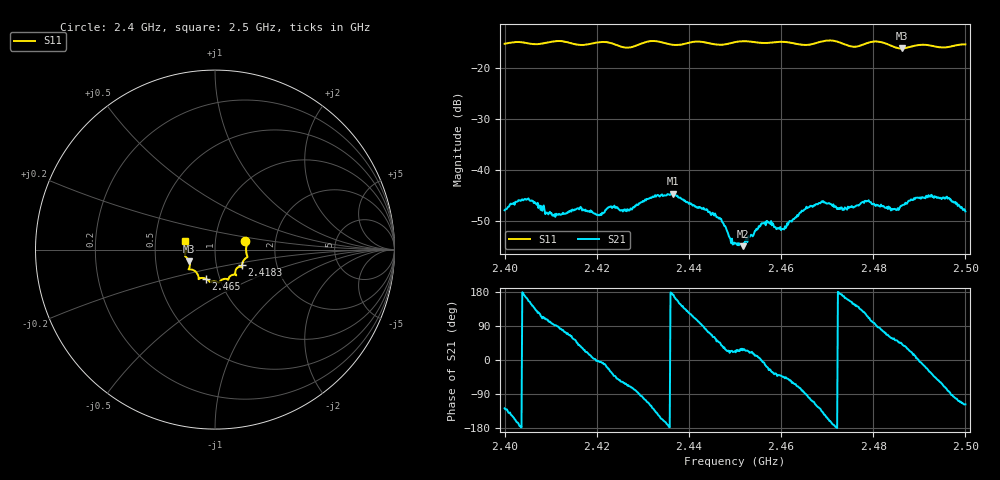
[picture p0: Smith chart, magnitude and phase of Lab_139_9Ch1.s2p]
# Hz S RI R 50
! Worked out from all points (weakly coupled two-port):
!   601 points, 2.4 GHz to 2.5 GHz, reference 50 ohm
!   highest |S21| = -44.64 dB at 2.4365 GHz (marker M1); lowest = -55.0 dB at 2.4517 GHz (marker M2)
!   lowest |S11| = -16.1 dB at 2.4862 GHz (marker M3), VSWR 1.37, Z = 37.2 - j4.89 ohm
!   |S11| at or under -10 dB: start of sweep to end of sweep
!   S12 and S22 are empty: the file has one direction only
!   S11 on the Smith chart (normalised r, x): 2.4 GHz: 1.40, +0.13; 2.4183 GHz: 1.33, -0.24; 2.465 GHz: 0.86, -0.29; 2.5 GHz: 0.71, +0.07
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2.4e9  0.1683 0.0468  -0.00244 -0.00319  0 0  0 0
2.404667e9  0.1766 0.0215  -0.00492 0.00136  0 0  0 0
2.410833e9  0.1807 -0.0372  -0.000127 0.00367  0 0  0 0
2.416667e9  0.1555 -0.0682  0.00353 0.00232  0 0  0 0
2.418333e9  0.1501 -0.0867  0.00383 0.000975  0 0  0 0
2.426667e9  0.1209 -0.1047  0.00157 -0.0038  0 0  0 0
2.433333e9  0.1171 -0.1415  -0.00465 -0.00325  0 0  0 0
2.4365e9  0.0957 -0.1414  -0.0058 0.000818  0 0  0 0
2.446167e9  0.0525 -0.1632  0.00213 0.00269  0 0  0 0
2.45e9  0.0258 -0.1796  0.00174 0.000739  0 0  0 0
2.451667e9  0.0213 -0.1836  0.00161 0.000768  0 0  0 0
2.456e9  -0.000317 -0.1779  0.00297 -0.000295  0 0  0 0
2.4605e9  -0.0283 -0.1803  0.00188 -0.00184  0 0  0 0
2.465e9  -0.0526 -0.1617  0.000353 -0.00405  0 0  0 0
2.466667e9  -0.0706 -0.1577  -0.0013 -0.00424  0 0  0 0
2.473833e9  -0.0942 -0.1441  -0.00411 0.00123  0 0  0 0
2.478667e9  -0.1387 -0.1102  -0.00215 0.00447  0 0  0 0
2.483333e9  -0.1415 -0.0966  0.00197 0.0039  0 0  0 0
2.486167e9  -0.1433 -0.0641  0.00322 0.00307  0 0  0 0
2.4925e9  -0.166 -0.0239  0.0047 -0.00313  0 0  0 0
2.496333e9  -0.1615 0.0193  0.00075 -0.00526  0 0  0 0
2.5e9  -0.1657 0.0472  -0.00179 -0.00348  0 0  0 0
